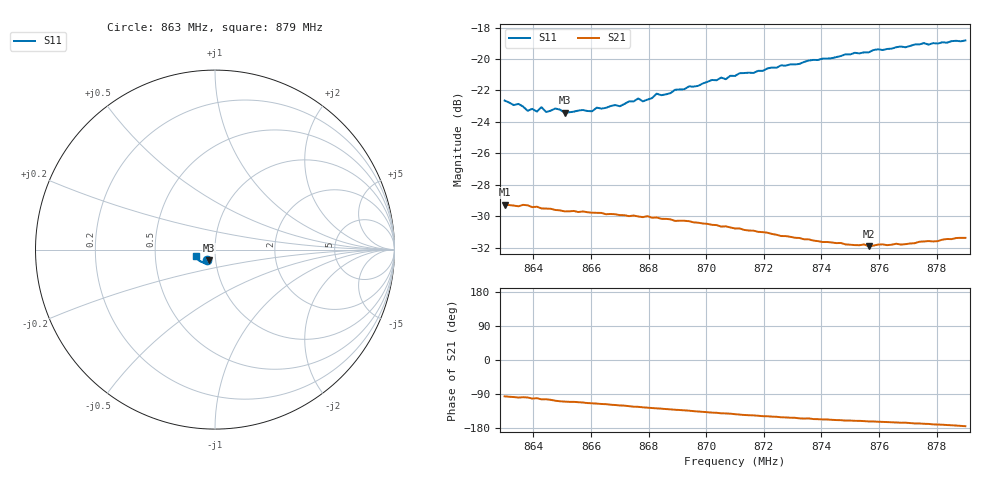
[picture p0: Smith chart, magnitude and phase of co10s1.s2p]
# HZ S RI R 50
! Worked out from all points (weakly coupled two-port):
!   101 points, 863 MHz to 879 MHz, reference 50 ohm
!   highest |S21| = -29.26 dB at 863 MHz (marker M1); lowest = -31.9 dB at 875.64 MHz (marker M2)
!   lowest |S11| = -23.4 dB at 865.08 MHz (marker M3), VSWR 1.14, Z = 46.2 - j5.31 ohm
!   |S11| at or under -10 dB: start of sweep to end of sweep
!   S12 and S22 are empty: the file has one direction only
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8.63e8  -0.0465 -0.0573  -0.0035 -0.0343  0 0  0 0
8.6332e8  -0.0444 -0.0559  -0.00465 -0.0339  0 0  0 0
8.6348e8  -0.0452 -0.0561  -0.00537 -0.0336  0 0  0 0
8.638e8  -0.0418 -0.0542  -0.00527 -0.0338  0 0  0 0
8.6396e8  -0.0414 -0.0558  -0.00693 -0.0331  0 0  0 0
8.6412e8  -0.0382 -0.0563  -0.00628 -0.0333  0 0  0 0
8.6428e8  -0.0411 -0.057  -0.00802 -0.0325  0 0  0 0
8.6444e8  -0.0391 -0.0555  -0.00789 -0.0325  0 0  0 0
8.6476e8  -0.0398 -0.0571  -0.00992 -0.0316  0 0  0 0
8.6508e8  -0.0359 -0.0572  -0.0111 -0.0308  0 0  0 0
8.6572e8  -0.0368 -0.0582  -0.0124 -0.0303  0 0  0 0
8.6604e8  -0.0365 -0.0576  -0.0134 -0.0296  0 0  0 0
8.67e8  -0.036 -0.0609  -0.0159 -0.0276  0 0  0 0
8.6764e8  -0.0381 -0.0645  -0.0174 -0.0263  0 0  0 0
8.678e8  -0.0369 -0.0634  -0.018 -0.0257  0 0  0 0
8.6828e8  -0.0392 -0.067  -0.0191 -0.0248  0 0  0 0
8.6844e8  -0.0387 -0.0662  -0.0193 -0.0243  0 0  0 0
8.71e8  -0.0513 -0.072  -0.0231 -0.0174  0 0  0 0
8.7372e8  -0.0695 -0.071  -0.0241 -0.0108  0 0  0 0
8.7564e8  -0.0841 -0.0629  -0.0241 -0.00782  0 0  0 0
8.7644e8  -0.0904 -0.059  -0.0247 -0.0069  0 0  0 0
8.79e8  -0.1083 -0.0375  -0.0269 -0.00248  0 0  0 0
